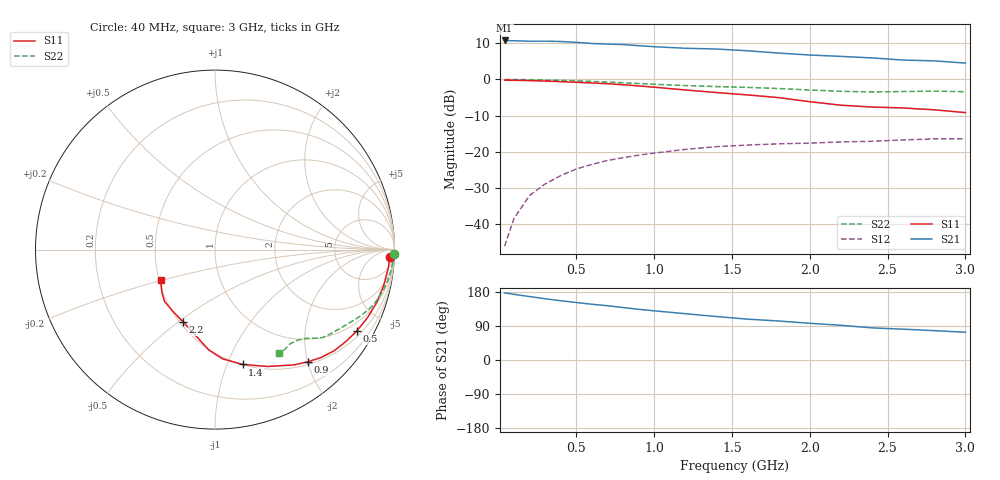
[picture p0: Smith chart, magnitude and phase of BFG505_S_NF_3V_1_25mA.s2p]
! Filename:  BFG505B.S2P  Version:  3.0
! Philips part #: BFG505  Date: Feb 1992
! Bias condition: Vce=3V, Ic=1.25mA
! IN LINE PINNING: same data as with cross emitter pinning.
#  MHz  S  MA  R  50
! Freq  S11  S21  S12  S22  !GUM [dB]
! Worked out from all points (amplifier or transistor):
!   21 points, 40 MHz to 3 GHz, reference 50 ohm
!   highest |S21| = 10.7 dB at 40 MHz (marker M1)
!   |S21| within 3 dB of that: start of sweep to 1.648 GHz
!   unconditionally stable (mu >= 1): nowhere
!   at 300 MHz: K = 0.11, MSG = 19.7 dB, |S12| = -28.9 dB
!   at 1 GHz: K = 0.32, MSG = 14.7 dB, |S12| = -20.4 dB
!   at 3 GHz: K = 0.88, MSG = 10.5 dB, |S12| = -16.4 dB
!   lowest NFmin = 1.20 dB at 900 MHz
!   S11 on the Smith chart (normalised r, x): 40 MHz: 21, -35; 500 MHz: 0.68, -3.64; 900 MHz: 0.55, -2.01; 1.4 GHz: 0.50, -1.14; 2.2 GHz: 0.52, -0.52; 3 GHz: 0.51, -0.20
40  0.975 -2.4  3.44 177.1  0.005 86.8  0.996 -1.4
100  0.971 -6.1  3.404 173.4  0.012 86.1  0.995 -3.4
200  0.961 -12.0  3.359 167.5  0.025 82.1  0.988 -6.8
300  0.948 -18.1  3.363 161.6  0.036 78.2  0.978 -10.1
400  0.93 -24.2  3.329 156.4  0.047 74.4  0.966 -13.2
500  0.911 -29.8  3.238 151.7  0.058 70.9  0.952 -16.1
600  0.892 -34.9  3.125 147.2  0.067 68.3  0.936 -19.0
700  0.871 -40.3  3.069 143.2  0.076 65.3  0.918 -21.4
800  0.843 -45.5  3.021 138.5  0.083 62.2  0.897 -23.8
900  0.812 -50.3  2.917 133.8  0.09 59.6  0.877 -26.0
1000  0.78 -55.4  2.821 129.8  0.096 57.1  0.856 -28.2
1200  0.714 -65.8  2.685 122.2  0.108 53.1  0.821 -32.6
1400  0.658 -76.5  2.621 114.7  0.118 49.8  0.795 -36.3
1600  0.61 -86.0  2.478 107.8  0.124 47.8  0.775 -39.2
1800  0.56 -93.6  2.305 102.9  0.129 46.5  0.747 -41.4
2000  0.492 -102.5  2.167 96.9  0.132 44.1  0.713 -43.8
2200  0.44 -113.9  2.074 91.6  0.137 41.8  0.684 -47.4
2400  0.415 -125.2  1.975 84.8  0.14 40.2  0.671 -51.7
2600  0.403 -134.2  1.845 81.3  0.146 40.6  0.679 -55.3
2800  0.38 -141.2  1.8 77.5  0.151 40.5  0.687 -57.2
3000  0.348 -150.4  1.677 73.2  0.151 40.5  0.676 -58.4
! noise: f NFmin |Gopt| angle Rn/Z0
900  1.2  0.652  20  0.81
2000  1.9  0.546  48  0.59
